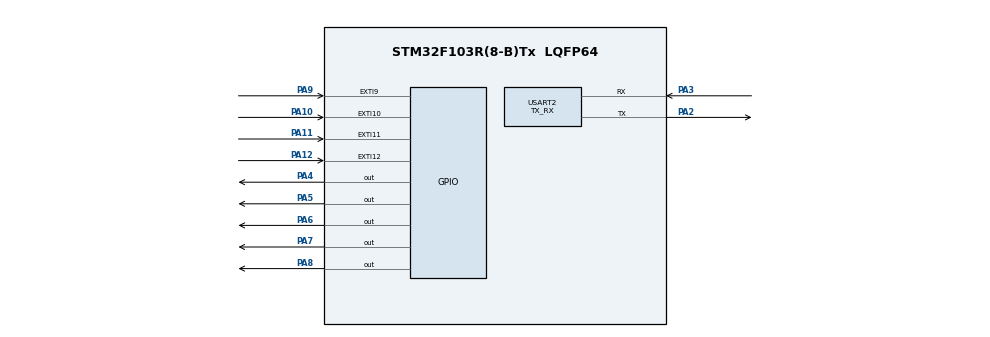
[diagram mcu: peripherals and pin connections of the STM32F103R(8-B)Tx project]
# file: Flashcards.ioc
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Mcu.Family=STM32F1
Mcu.Name=STM32F103R(8-B)Tx
Mcu.Package=LQFP64
NVIC.EXTI15_10_IRQn=true\:0\:0\:false\:false\:true\:true\:true\:true
NVIC.EXTI9_5_IRQn=true\:0\:0\:false\:false\:true\:true\:true\:true
NVIC.PriorityGroup=NVIC_PRIORITYGROUP_4
NVIC.USART2_IRQn=true\:0\:0\:false\:false\:true\:true\:true\:true
PA10.GPIO_ModeDefaultEXTI=GPIO_MODE_IT_FALLING
PA10.GPIO_PuPd=GPIO_PULLUP
PA10.Signal=GPXTI10
PA11.GPIO_ModeDefaultEXTI=GPIO_MODE_IT_FALLING
PA11.GPIO_PuPd=GPIO_PULLUP
PA11.Signal=GPXTI11
PA12.GPIO_ModeDefaultEXTI=GPIO_MODE_IT_FALLING
PA12.GPIO_PuPd=GPIO_PULLUP
PA12.Signal=GPXTI12
PA13.Mode=Serial_Wire
PA13.Signal=SYS_JTMS-SWDIO
PA14.Mode=Serial_Wire
PA14.Signal=SYS_JTCK-SWCLK
PA2.Mode=Asynchronous
PA2.Signal=USART2_TX
PA3.Mode=Asynchronous
PA3.Signal=USART2_RX
PA4.GPIO_ModeDefaultOutputPP=GPIO_MODE_OUTPUT_PP
PA4.GPIO_PuPd=GPIO_PULLDOWN
PA4.PinState=GPIO_PIN_RESET
PA4.Signal=GPIO_Output
PA5.GPIO_PuPd=GPIO_PULLDOWN
PA5.Signal=GPIO_Output
PA6.GPIO_PuPd=GPIO_PULLDOWN
PA6.PinState=GPIO_PIN_RESET
PA6.Signal=GPIO_Output
PA7.GPIO_PuPd=GPIO_PULLDOWN
PA7.Signal=GPIO_Output
PA8.GPIO_PuPd=GPIO_PULLDOWN
PA8.Signal=GPIO_Output
PA9.GPIO_ModeDefaultEXTI=GPIO_MODE_IT_FALLING
PA9.GPIO_PuPd=GPIO_PULLUP
PA9.Signal=GPXTI9
ProjectManager.HeapSize=0x200
ProjectManager.StackSize=0x400
ProjectManager.TargetToolchain=STM32CubeIDE
RCC.APB1Freq_Value=8000000
RCC.APB2Freq_Value=8000000
USART2.Mode=MODE_TX_RX
USART2.VirtualMode=VM_ASYNC
board=custom

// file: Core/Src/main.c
/* USER CODE BEGIN Header */
/**
  ******************************************************************************
  * @file           : main.c
  * @brief          : Main program body
  ******************************************************************************
  * @attention
  *
  * Copyright (c) 2025 STMicroelectronics.
  * All rights reserved.
  *
  * This software is licensed under terms that can be found in the LICENSE file
  * in the root directory of this software component.
  * If no LICENSE file comes with this software, it is provided AS-IS.
  *
  ******************************************************************************
  */
/* USER CODE END Header */
#include "main.h"

/* USER CODE BEGIN Includes */
#include "states.h"
#include "creators.h"
#include "structures.h"
#include "displays.h"
#include "LCD.h"
#include "reception.h"
/* USER CODE END Includes */

UART_HandleTypeDef huart2;

/* USER CODE BEGIN PV */
uint8_t buffer[1000];
/* USER CODE END PV */

void SystemClock_Config(void);
void MX_GPIO_Init(void);
static void MX_USART2_UART_Init(void);

#ifndef TEST
int main(void)
{

  /* MCU Configuration--------------------------------------------------------*/

  /* Reset of all peripherals, Initializes the Flash interface and the Systick. */
  HAL_Init();

  /* Configure the system clock */
  SystemClock_Config();

  /* USER CODE BEGIN SysInit */
  //TestInit(); //We initialize the list of categories to be able to test the program

  /* USER CODE END SysInit */

  /* Initialize all configured peripherals */
  MX_GPIO_Init();
  MX_USART2_UART_Init();
  /* USER CODE BEGIN 2 */
  currentStateMain = CATEGORY_SELECTION;
  /* USER CODE END 2 */

  /* Infinite loop */
  /* USER CODE BEGIN WHILE */
  BACK_COLOR = 0x8430;
  POINT_COLOR = 0x0000;
  Lcd_Init();
  LCD_Clear(BACK_COLOR);
  if(*(uint16_t*)0x0800F800 != 0x0001) //FLASH_START_ADDRESS 0x0800F800
 {
 	TestInit();
 	//DisplayString(*(uint16_t*)0x0800F800+u'0');
 }
  else
  {
	  MapFlashMemoryToStructures();
  }
  SysTick->CTRL &= ~SysTick_CTRL_TICKINT_Msk; //You will need to turn on the clock every time you want to send a signal.
  currentStateMain = CATEGORY_SELECTION;
  while (1)
  {
	  SysTick->CTRL |= SysTick_CTRL_TICKINT_Msk;
	  HAL_NVIC_DisableIRQ(EXTI9_5_IRQn);// solution for switch bouncing problem
	  HAL_NVIC_DisableIRQ(EXTI15_10_IRQn);
    /* USER CODE END WHILE */

    /* USER CODE BEGIN 3 */
	//Category** categ;
    switch(currentStateMain)
	{
    case LEARNING:
		//categ =  &allCategories[State_CategoryNumber];
		//FlashCard* flashcard = categ->flashcard[State_FlashCardNumber];
		switch(currentStateFlashCardSide)
		{
		case QUESTION:
			DisplayString(allCategories[State_CategoryNumber].flashcard[State_FlashCardNumber].question.data);
			//print("Question\n", &huart2);

		break;
		case ANSWER:
			DisplayString(allCategories[State_CategoryNumber].flashcard[State_FlashCardNumber].answer.string);
			//print("Answer\n", &huart2);
		break;
		}
	break;
	case CATEGORY_SELECTION:
	    //categ =  &allCategories[State_CategoryNumber];
	  	DisplayString(allCategories[State_CategoryNumber].name);
	  	//print("CategorySelection\n", &huart2);
	  	break;
	case UPLOAD_DATA:
		//TO BE DONE
		DisplayString(u"Load Data in Flashcard App");
		SaveIncomingDataToFlashMemory();
		MapFlashMemoryToStructures();
		DisplayString(u"Data Loaded!");
		/*
		DisplayString(L"Loading memory pages...");
		if(buffer2[499]==0x0004)
		{
			currentStateMain = CATEGORY_SELECTION;
		}
		*/
		//LCD_Clear_size(BACK_COLOR, 5,5, size_of_prev_string*8);
		//size_of_prev_string = len_str(buffer);
		//LCD_ShowString(5,5,buffer);
		break;
	}
  SysTick->CTRL &= ~SysTick_CTRL_TICKINT_Msk;
  if(currentStateMain!=UPLOAD_DATA)
	  SCB->SCR = SCB->SCR | 0x04;

  EXTI->PR |= EXTI_PR_PR9;
  EXTI->PR |= EXTI_PR_PR10;
  EXTI->PR |= EXTI_PR_PR11;
  EXTI->PR |= EXTI_PR_PR12;
  //print("_WFI_0", &huart2);
  HAL_NVIC_EnableIRQ(EXTI9_5_IRQn);
  //print("_WFI_1", &huart2);
  HAL_NVIC_EnableIRQ(EXTI15_10_IRQn);
  //if(currentStateMain==UPLOAD_DATA)
	  //HAL_NVIC_EnableIRQ(USART2_IRQn);
  __WFI();
  //print("_WFI_after", &huart2);
  }

  /* USER CODE END 3 */
}
#endif

void SystemClock_Config(void)
{
  RCC_OscInitTypeDef RCC_OscInitStruct = {0};
  RCC_ClkInitTypeDef RCC_ClkInitStruct = {0};

  /** Initializes the RCC Oscillators according to the specified parameters
  * in the RCC_OscInitTypeDef structure.
  */
  RCC_OscInitStruct.OscillatorType = RCC_OSCILLATORTYPE_HSI;
  RCC_OscInitStruct.HSIState = RCC_HSI_ON;
  RCC_OscInitStruct.HSICalibrationValue = RCC_HSICALIBRATION_DEFAULT;
  RCC_OscInitStruct.PLL.PLLState = RCC_PLL_NONE;
  if (HAL_RCC_OscConfig(&RCC_OscInitStruct) != HAL_OK)
  {
    Error_Handler();
  }

  /** Initializes the CPU, AHB and APB buses clocks
  */
  RCC_ClkInitStruct.ClockType = RCC_CLOCKTYPE_HCLK|RCC_CLOCKTYPE_SYSCLK
                              |RCC_CLOCKTYPE_PCLK1|RCC_CLOCKTYPE_PCLK2;
  RCC_ClkInitStruct.SYSCLKSource = RCC_SYSCLKSOURCE_HSI;
  RCC_ClkInitStruct.AHBCLKDivider = RCC_SYSCLK_DIV1;
  RCC_ClkInitStruct.APB1CLKDivider = RCC_HCLK_DIV1;
  RCC_ClkInitStruct.APB2CLKDivider = RCC_HCLK_DIV1;

  if (HAL_RCC_ClockConfig(&RCC_ClkInitStruct, FLASH_LATENCY_0) != HAL_OK)
  {
    Error_Handler();
  }
}

static void MX_USART2_UART_Init(void)
{

  huart2.Instance = USART2;
  huart2.Init.BaudRate = 115200;
  huart2.Init.WordLength = UART_WORDLENGTH_8B;
  huart2.Init.StopBits = UART_STOPBITS_1;
  huart2.Init.Parity = UART_PARITY_NONE;
  huart2.Init.Mode = UART_MODE_TX_RX;
  huart2.Init.HwFlowCtl = UART_HWCONTROL_NONE;
  huart2.Init.OverSampling = UART_OVERSAMPLING_16;
  if (HAL_UART_Init(&huart2) != HAL_OK)
  {
    Error_Handler();
  }

}

void MX_GPIO_Init(void)
{
  GPIO_InitTypeDef GPIO_InitStruct = {0};

  /* GPIO Ports Clock Enable */
  __HAL_RCC_GPIOA_CLK_ENABLE();

  /*Configure GPIO pin Output Level */
  HAL_GPIO_WritePin(GPIOA, GPIO_PIN_4|GPIO_PIN_5|GPIO_PIN_6|GPIO_PIN_7
                          |GPIO_PIN_8, GPIO_PIN_RESET);

  /*Configure GPIO pins : PA4 PA5 PA6 PA7
                           PA8 */
  GPIO_InitStruct.Pin = GPIO_PIN_4|GPIO_PIN_5|GPIO_PIN_6|GPIO_PIN_7
                          |GPIO_PIN_8;
  GPIO_InitStruct.Mode = GPIO_MODE_OUTPUT_PP;
  GPIO_InitStruct.Pull = GPIO_PULLDOWN;
  GPIO_InitStruct.Speed = GPIO_SPEED_FREQ_LOW;
  HAL_GPIO_Init(GPIOA, &GPIO_InitStruct);

  /*Configure GPIO pins : PA9 PA10 PA11 PA12 */
  GPIO_InitStruct.Pin = GPIO_PIN_9|GPIO_PIN_10|GPIO_PIN_11|GPIO_PIN_12;
  GPIO_InitStruct.Mode = GPIO_MODE_IT_FALLING;
  GPIO_InitStruct.Pull = GPIO_PULLUP;
  HAL_GPIO_Init(GPIOA, &GPIO_InitStruct);

  /* EXTI interrupt init*/
  HAL_NVIC_SetPriority(EXTI9_5_IRQn, 0, 0);
  HAL_NVIC_EnableIRQ(EXTI9_5_IRQn);

  HAL_NVIC_SetPriority(EXTI15_10_IRQn, 0, 0);
  HAL_NVIC_EnableIRQ(EXTI15_10_IRQn);

}

/* USER CODE BEGIN 4 */
void HAL_UART_RxCpltCallback(UART_HandleTypeDef *huart){
	  SysTick->CTRL |= SysTick_CTRL_TICKINT_Msk;
	  //DisplayString(L"lalalalala");
	  HAL_UART_Receive_DMA(&huart2, buffer, 1);
}
/* USER CODE END 4 */

void Error_Handler(void)
{
  __disable_irq();
  while (1)
  {
  }
}
